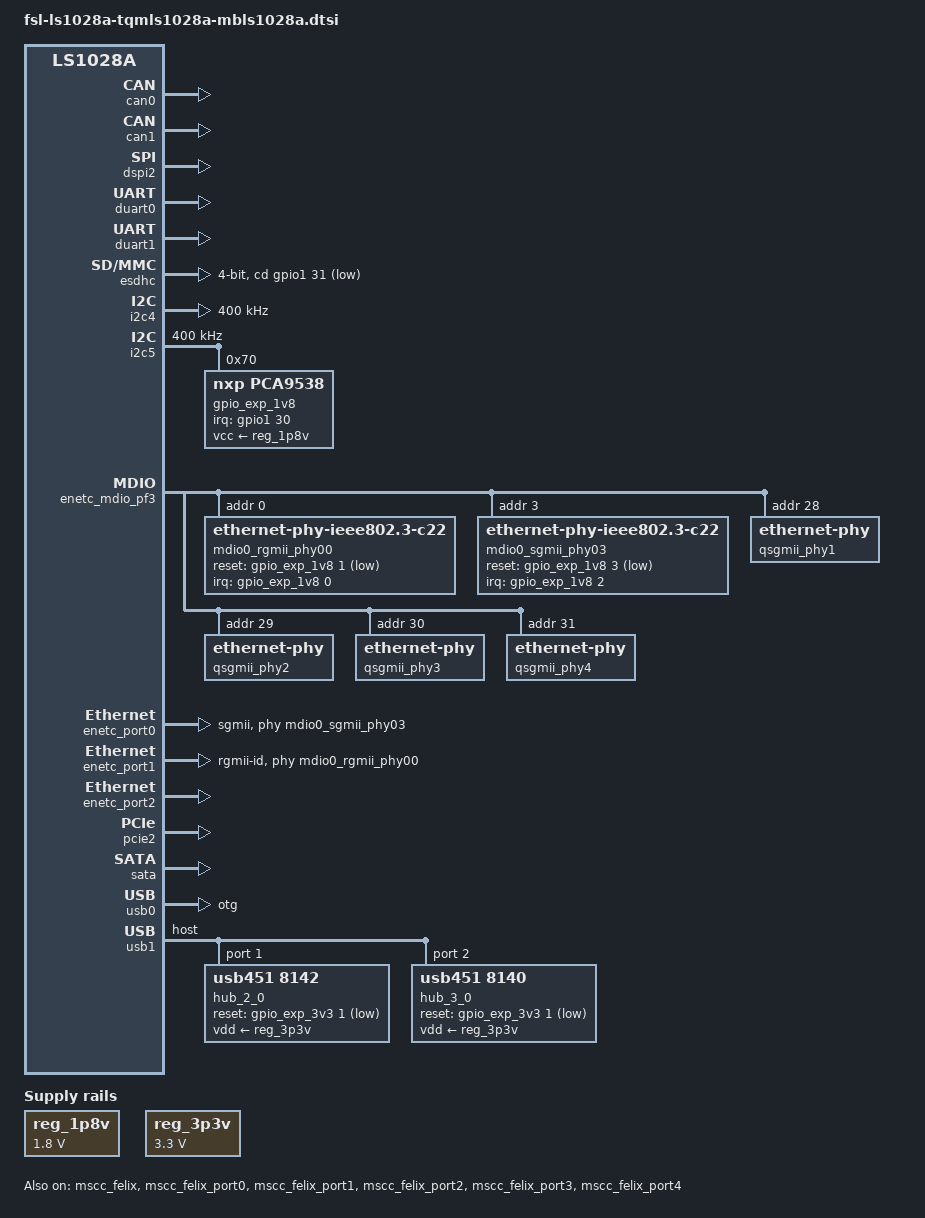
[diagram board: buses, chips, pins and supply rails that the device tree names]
// SPDX-License-Identifier: (GPL-2.0-or-later OR MIT)
/*
 * Copyright 2019-2025 TQ-Systems GmbH <linux@ew.tq-group.com>,
 * D-82229 Seefeld, Germany.
 * Author: Michael Krummsdorf
 * Author: Matthias Schiffer
 * Author: Alexander Stein
 */

#include <dt-bindings/gpio/gpio.h>
#include <dt-bindings/net/ti-dp83867.h>
#include "fsl-ls1028a-tqmls1028a.dtsi"

/ {
	aliases {
		crypto = &crypto;
		gpio0 = &gpio1;
		gpio1 = &gpio2;
		gpio2 = &gpio3;
		mmc0 = &esdhc; /* SD-Card */
		mmc1 = &esdhc1; /* eMMC */
		serial0 = &duart0;
		serial1 = &duart1;
	};

	chosen {
		stdout-path = &duart0;
	};

	reg_1p8v: regulator-1p8v {
		compatible = "regulator-fixed";
		regulator-name = "V_1V8";
		regulator-min-microvolt = <1800000>;
		regulator-max-microvolt = <1800000>;
		regulator-always-on;
	};

	reg_3p3v: regulator-3p3v {
		compatible = "regulator-fixed";
		regulator-name = "V_3V3";
		regulator-min-microvolt = <3300000>;
		regulator-max-microvolt = <3300000>;
		regulator-always-on;
	};

	reserved-memory {
		#address-cells = <2>;
		#size-cells = <2>;
		ranges;

		/* global autoconfigured region for contiguous allocations */
		linux,cma {
			compatible = "shared-dma-pool";
			reusable;
			/* 256 MiB */
			size = <0 0x10000000>;
			linux,cma-default;
		};
	};
};

&can0 {
	status = "okay";
};

&can1 {
	status = "okay";
};

&dspi2 {
	bus-num = <2>;
	status = "okay";
};

&duart0 {
	status = "okay";
};

&duart1 {
	status = "okay";
};

&esdhc {
	cd-gpios = <&gpio1 31 GPIO_ACTIVE_LOW>;
	disable-wp;
	no-mmc;
	no-sdio;
	no-1-8-v;
	bus-width = <4>;
	status = "okay";
};

/* When switched to baseboard-internal i2c bus,
 * IIC5 has access to the following devices.
 */
&i2c4 {
	/* TUSB8041 only supports 100 KHz, but it is not connected */
	clock-frequency = <400000>;
	status = "okay";

	/* SI5338 - set up in U-Boot */
	/* clockgen@70 */
};

&i2c5 {
	clock-frequency = <400000>;
	status = "okay";

	gpio_exp_1v8: gpio@70 {
		compatible = "nxp,pca9538";
		reg = <0x70>;
		#gpio-cells = <2>;
		gpio-controller;
		#interrupt-cells = <2>;
		interrupt-controller;
		interrupt-parent = <&gpio1>;
		interrupts = <30 IRQ_TYPE_LEVEL_LOW>;
		vcc-supply = <&reg_1p8v>;

		ec1-intn-hog {
			gpio-hog;
			gpios = <0 0>;
			input;
			line-name = "EC1_INT#";
		};

		sgmii-intn-hog {
			gpio-hog;
			gpios = <2 0>;
			input;
			line-name = "SGMII_INT#";
		};

		qsgmii-intn-hog {
			gpio-hog;
			gpios = <4 0>;
			input;
			line-name = "QSGMII_INT#";
		};

		qsgmii-rstn-hog {
			gpio-hog;
			gpios = <5 0>;
			output-high;
			line-name = "QSGMII_RESET#";
		};
	};
};

&enetc_mdio_pf3 {
	mdio0_rgmii_phy00: ethernet-phy@0 {
		compatible = "ethernet-phy-ieee802.3-c22";
		reg = <0x00>;
		reset-gpios = <&gpio_exp_1v8 1 GPIO_ACTIVE_LOW>;
		reset-assert-us = <1>;
		reset-deassert-us = <200>;
		interrupt-parent = <&gpio_exp_1v8>;
		interrupts = <0 IRQ_TYPE_LEVEL_LOW>;
		ti,rx-internal-delay = <DP83867_RGMIIDCTL_2_50_NS>;
		ti,tx-internal-delay = <DP83867_RGMIIDCTL_2_00_NS>;
		ti,clk-output-sel = <DP83867_CLK_O_SEL_OFF>;
		ti,fifo-depth = <DP83867_PHYCR_FIFO_DEPTH_4_B_NIB>;
	};

	mdio0_sgmii_phy03: ethernet-phy@3 {
		compatible = "ethernet-phy-ieee802.3-c22";
		reg = <0x03>;
		reset-gpios = <&gpio_exp_1v8 3 GPIO_ACTIVE_LOW>;
		/*
		 * Long reset to work around PHY incorrect strap pin sampling
		 * due to external capacitors for SGMII
		 */
		reset-assert-us = <2500>;
		reset-deassert-us = <200>;
		interrupt-parent = <&gpio_exp_1v8>;
		interrupts = <2 IRQ_TYPE_LEVEL_LOW>;
		ti,clk-output-sel = <DP83867_CLK_O_SEL_OFF>;
		ti,fifo-depth = <DP83867_PHYCR_FIFO_DEPTH_4_B_NIB>;
	};

	qsgmii_phy1: ethernet-phy@1c {
		reg = <0x1c>;
	};

	qsgmii_phy2: ethernet-phy@1d {
		reg = <0x1d>;
	};

	qsgmii_phy3: ethernet-phy@1e {
		reg = <0x1e>;
	};

	qsgmii_phy4: ethernet-phy@1f {
		reg = <0x1f>;
	};
};

&enetc_port0 {
	phy-handle = <&mdio0_sgmii_phy03>;
	phy-mode = "sgmii";
	managed = "in-band-status";
	status = "okay";
};

&enetc_port1 {
	phy-handle = <&mdio0_rgmii_phy00>;
	phy-mode = "rgmii-id";
	status = "okay";
};

&enetc_port2 {
	status = "okay";
};

&mscc_felix {
	status = "okay";
};

/* l2switch ports */
&mscc_felix_port0 {
	phy-handle = <&qsgmii_phy1>;
	phy-mode = "qsgmii";
	status = "okay";
};

&mscc_felix_port1 {
	phy-handle = <&qsgmii_phy2>;
	phy-mode = "qsgmii";
	status = "okay";
};

&mscc_felix_port2 {
	phy-handle = <&qsgmii_phy3>;
	phy-mode = "qsgmii";
	status = "okay";
};

&mscc_felix_port3 {
	phy-handle = <&qsgmii_phy4>;
	phy-mode = "qsgmii";
	status = "okay";
};

&mscc_felix_port4 {
	ethernet = <&enetc_port2>;
	status = "okay";
};

&pcie2 {
	status = "okay";
};

&sata {
	status = "okay";
};

&usb0 {
	/* dual role is implemented, but not a full featured OTG */
	hnp-disable;
	srp-disable;
	adp-disable;
	dr_mode = "otg";
	status = "okay";
};

&usb1 {
	dr_mode = "host";
	#address-cells = <1>;
	#size-cells = <0>;
	status = "okay";

	hub_2_0: hub@1 {
		compatible = "usb451,8142";
		reg = <1>;
		peer-hub = <&hub_3_0>;
		reset-gpios = <&gpio_exp_3v3 1 GPIO_ACTIVE_LOW>;
		vdd-supply = <&reg_3p3v>;
	};

	hub_3_0: hub@2 {
		compatible = "usb451,8140";
		reg = <2>;
		peer-hub = <&hub_2_0>;
		reset-gpios = <&gpio_exp_3v3 1 GPIO_ACTIVE_LOW>;
		vdd-supply = <&reg_3p3v>;
	};
};
